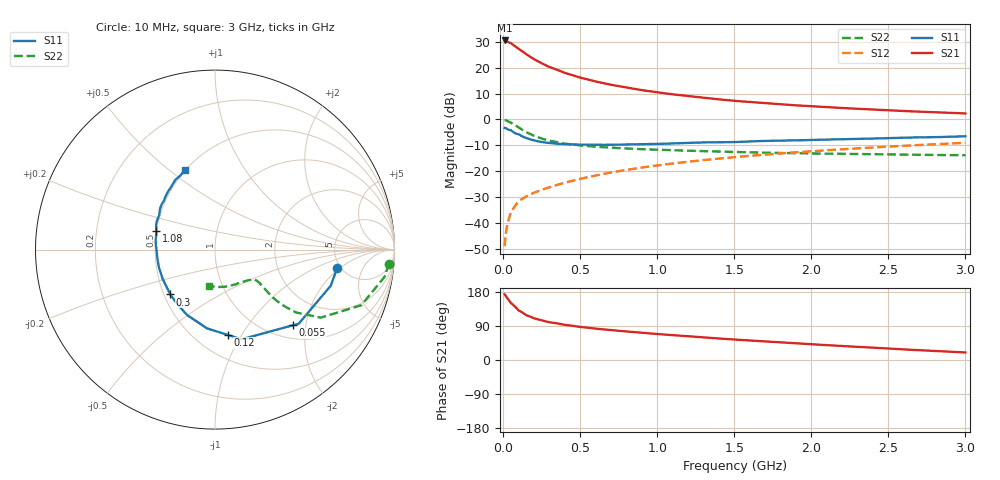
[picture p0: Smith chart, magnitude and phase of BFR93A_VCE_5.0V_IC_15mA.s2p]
! Infineon Technologies  Discrete & RF Semiconductors
! BFR93A
! VCE =  5.0 V,  IC =  15 mA
! Common Emitter S-Parameters:  Nov 2015
# GHz  S  MA  R  50
!  f  S11  S21  S12  S22
! GHz  MAG  ANG  MAG  ANG  MAG  ANG  MAG  ANG
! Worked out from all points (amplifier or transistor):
!   180 points, 10 MHz to 3 GHz, reference 50 ohm
!   highest |S21| = 30.5 dB at 10 MHz (marker M1)
!   |S21| within 3 dB of that: start of sweep to 96.51 MHz
!   unconditionally stable (mu >= 1): 494.4 MHz to 2.656 GHz
!   at 160 MHz: K = 0.61, MSG = 27.1 dB, |S12| = -29.4 dB
!   at 1.22 GHz: K = 1.08, MAG = 10.8 dB, |S12| = -16.2 dB
!   at 3 GHz: K = 0.98, MSG = 5.7 dB, |S12| = -9.0 dB
!   S11 on the Smith chart (normalised r, x): 10 MHz: 4.63, -1.85; 55 MHz: 1.27, -1.70; 120 MHz: 0.71, -0.87; 300 MHz: 0.54, -0.31; 1.08 GHz: 0.50, +0.12; 3 GHz: 0.50, +0.57
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0.01  0.6877 -8.8  33.37 173.3  0.0036 86.0  0.9723 -4.6
0.02  0.6757 -17.3  32.79 167.2  0.007 80.5  0.9572 -9.1
0.03  0.6455 -24.9  31.48 162.0  0.0099 76.1  0.9247 -12.8
0.05  0.623 -41.5  29.7 150.6  0.0159 72.3  0.8722 -20.8
0.055  0.6055 -44.1  28.93 149.1  0.0169 70.9  0.8536 -21.8
0.1  0.5211 -73.5  23.29 131.0  0.0261 63.1  0.7001 -32.8
0.12  0.4804 -81.5  21.1 126.7  0.0288 61.8  0.6471 -34.6
0.15  0.4409 -95.9  18.11 118.3  0.0328 60.2  0.5691 -37.9
0.2  0.3964 -113.0  14.57 110.1  0.0385 60.0  0.4846 -39.5
0.24  0.372 -122.9  12.56 105.4  0.0427 60.5  0.4393 -39.7
0.26  0.364 -127.3  11.72 103.2  0.0449 60.9  0.4204 -39.6
0.3  0.3527 -134.9  10.3 99.7  0.0491 61.9  0.3901 -39.2
0.4  0.3344 -150.6  7.907 92.7  0.0601 64.0  0.342 -37.9
0.52  0.3266 -164.0  6.214 86.5  0.0737 65.4  0.312 -36.9
0.7  0.3247 -177.5  4.664 78.8  0.0948 66.2  0.2852 -36.9
0.8  0.3298 176.4  4.112 75.2  0.1062 66.3  0.2753 -37.5
1.02  0.3387 165.2  3.276 68.0  0.132 65.3  0.2602 -40.2
1.08  0.3427 162.7  3.107 66.2  0.1391 64.9  0.2565 -41.2
1.52  0.3684 147.2  2.263 53.5  0.1896 61.4  0.2351 -50.4
2.02  0.4038 133.1  1.783 41.1  0.246 56.6  0.2203 -63.9
2.52  0.4385 121.7  1.492 29.8  0.3017 51.0  0.2114 -79.8
3  0.4738 110.7  1.306 19.9  0.3546 45.3  0.2049 -99.1
